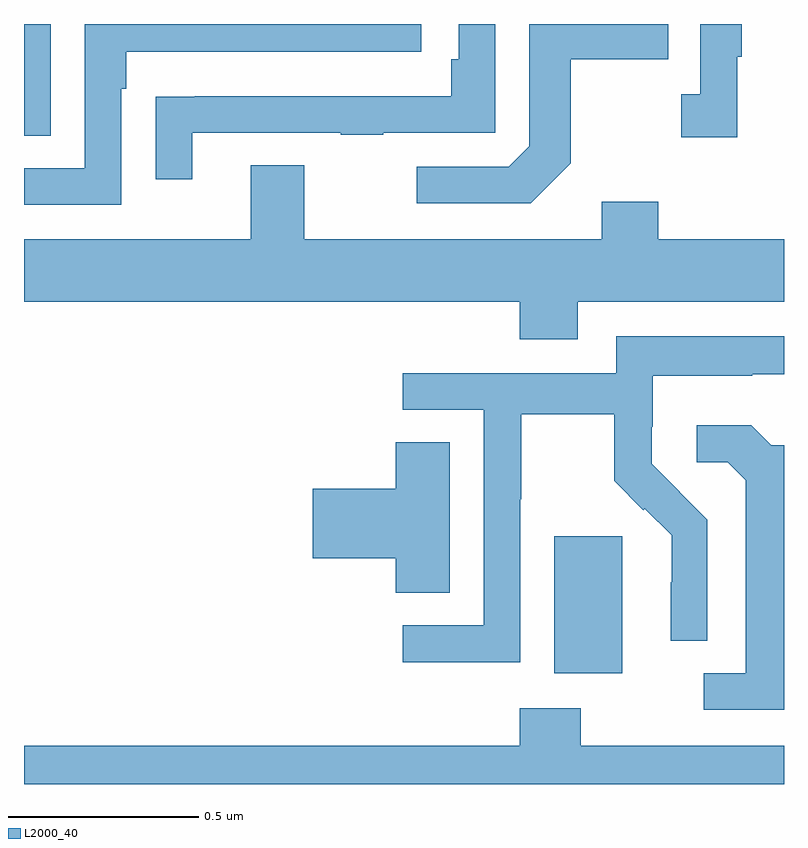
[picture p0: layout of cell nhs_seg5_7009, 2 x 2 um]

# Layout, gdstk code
import gdstk
lib = gdstk.Library(unit=1e-6, precision=1e-09)
def R(c, l, rs):  # rectangles x0, y0, x1, y1
    for r in rs: c.add(gdstk.rectangle(r[:2], r[2:], *l))
def P(c, l, *ps):  # polygons
    for p in ps: c.add(gdstk.Polygon(p, *l))
L2000_40 = (2000, 40)

nhs_seg5_7009 = lib.new_cell('nhs_seg5_7009')
R(nhs_seg5_7009, L2000_40, [(204.395,881.09,204.574,881.451), (203,882.505,203.07,882.799)])
P(nhs_seg5_7009, L2000_40, [(204.439,882.433),(204.439,882.706),(204.695,882.706),(204.695,882.799),(204.33,882.799),(204.33,882.477),(204.276,882.423),(204.033,882.423),(204.033,882.327),(204.333,882.327)],
  [(204.877,882.713),(204.889,882.713),(204.889,882.799),(204.78,882.799),(204.78,882.614),(204.729,882.614),(204.729,882.501),(204.877,882.501)],
  [(203.443,882.513),(203.833,882.513),(203.833,882.508),(203.945,882.508),(203.945,882.513),(204.24,882.513),(204.24,882.799),(204.144,882.799),(204.144,882.706),(204.124,882.706),(204.124,882.609),(203.449,882.609),(203.449,882.608),(203.347,882.608),(203.347,882.39),(203.443,882.39)],
  [(203.256,882.629),(203.269,882.629),(203.269,882.726),(204.046,882.726),(204.046,882.799),(203.16,882.799),(203.16,882.42),(203,882.42),(203,882.324),(203.256,882.324)],
  [(204.457,882.068),(205,882.068),(205,882.232),(204.669,882.232),(204.669,882.331),(204.521,882.331),(204.521,882.232),(203.737,882.232),(203.737,882.427),(203.597,882.427),(203.597,882.232),(203,882.232),(203,882.068),(204.305,882.068),(204.305,881.969),(204.457,881.969)],
  [(204.306,881.548),(204.309,881.548),(204.309,881.772),(204.553,881.772),(204.553,881.597),(204.63,881.52),(204.633,881.523),(204.704,881.453),(204.704,881.33),(204.702,881.33),(204.702,881.176),(204.798,881.176),(204.798,881.494),(204.725,881.567),(204.726,881.568),(204.652,881.642),(204.652,881.739),(204.654,881.739),(204.654,881.873),(204.917,881.873),(204.917,881.877),(205,881.877),(205,881.977),(204.558,881.977),(204.558,881.88),(203.997,881.88),(203.997,881.784),(204.21,881.784),(204.21,881.217),(203.997,881.217),(203.997,881.119),(204.306,881.119)],
  [(205,881.691),(204.966,881.691),(204.914,881.743),(204.771,881.743),(204.771,881.646),(204.852,881.646),(204.899,881.599),(204.899,881.091),(204.789,881.091),(204.789,880.995),(205,880.995)],
  [(204.121,881.699),(203.978,881.699),(203.978,881.576),(203.76,881.576),(203.76,881.393),(203.978,881.393),(203.978,881.302),(204.121,881.302)],
  [(205,880.9),(204.465,880.9),(204.465,880.999),(204.305,880.999),(204.305,880.9),(203,880.9),(203,880.799),(205,880.799)])

lib.write_gds('nhs_seg5_7009.gds')
